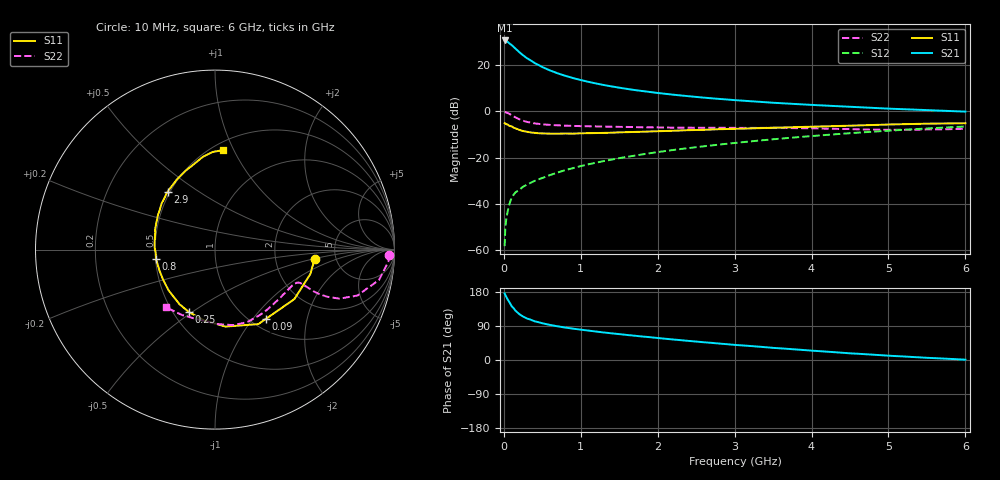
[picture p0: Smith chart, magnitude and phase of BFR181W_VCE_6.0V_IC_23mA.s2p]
! Infineon Technologies  Discrete & RF Semiconductors
! BFR181W
! VCE =  6.0 V,  IC =  23 mA
! Common Emitter S-Parameters:  Jan 2017
# GHz  S  MA  R  50
!  f  S11  S21  S12  S22
! GHz  MAG  ANG  MAG  ANG  MAG  ANG  MAG  ANG
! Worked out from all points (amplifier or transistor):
!   77 points, 10 MHz to 6 GHz, reference 50 ohm
!   highest |S21| = 30.8 dB at 10 MHz (marker M1)
!   |S21| within 3 dB of that: start of sweep to 133.7 MHz
!   unconditionally stable (mu >= 1): 567.2 MHz to 2.439 GHz
!   at 130 MHz: K = 0.44, MSG = 31.9 dB, |S12| = -36.0 dB
!   at 2.2 GHz: K = 1.03, MAG = 11.0 dB, |S12| = -16.7 dB
!   at 6 GHz: K = 0.83, MSG = 3.2 dB, |S12| = -6.5 dB
!   S11 on the Smith chart (normalised r, x): 10 MHz: 3.42, -0.54; 90 MHz: 1.16, -1.16; 250 MHz: 0.60, -0.49; 800 MHz: 0.50, -0.06; 2.9 GHz: 0.49, +0.38; 6 GHz: 0.57, +0.91
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0.01  0.5571 -5.6  34.68 175.9  0.0012 92.2  0.9686 -1.7
0.02  0.5484 -14.4  34.31 171.1  0.0032 90.2  0.9682 -4.0
0.05  0.521 -32.0  32.3 159.5  0.0068 79.2  0.9297 -10.4
0.09  0.4788 -54.0  28.44 146.3  0.012 71.5  0.853 -16.2
0.1  0.4802 -59.8  27.75 142.5  0.0133 70.5  0.8354 -17.8
0.15  0.4329 -82.3  23.19 130.4  0.0176 65.1  0.746 -21.5
0.2  0.3989 -98.8  19.41 121.3  0.0199 65.0  0.678 -22.8
0.25  0.3774 -112.4  16.56 114.6  0.0234 63.9  0.6301 -23.1
0.3  0.3631 -123.0  14.32 109.6  0.0258 63.4  0.5944 -22.9
0.4  0.3443 -138.5  11.26 102.2  0.0313 66.0  0.5517 -22.1
0.5  0.3341 -149.9  9.19 96.9  0.0361 67.5  0.5275 -21.6
0.6  0.3309 -158.5  7.77 92.6  0.0418 69.4  0.5114 -21.4
0.7  0.3302 -165.7  6.718 88.9  0.0474 71.2  0.5008 -21.5
0.8  0.3329 -171.4  5.931 85.6  0.0537 73.1  0.4929 -21.9
1.1  0.3385 174.6  4.39 77.6  0.0716 74.5  0.4784 -24.2
1.5  0.3525 161.1  3.277 68.3  0.0973 75.0  0.4637 -29.0
2.1  0.3771 145.4  2.416 56.1  0.1388 73.8  0.4489 -39.0
2.9  0.4163 129.3  1.817 41.7  0.1993 70.0  0.442 -54.6
3.1  0.4246 125.6  1.718 38.5  0.2157 68.6  0.4406 -58.5
4.1  0.4722 109.2  1.363 23.4  0.3017 60.8  0.4284 -78.5
5.1  0.526 96.0  1.136 10.3  0.3917 51.0  0.4006 -105.1
6  0.5561 85.3  0.993 0.9  0.4727 41.3  0.4216 -130.2
